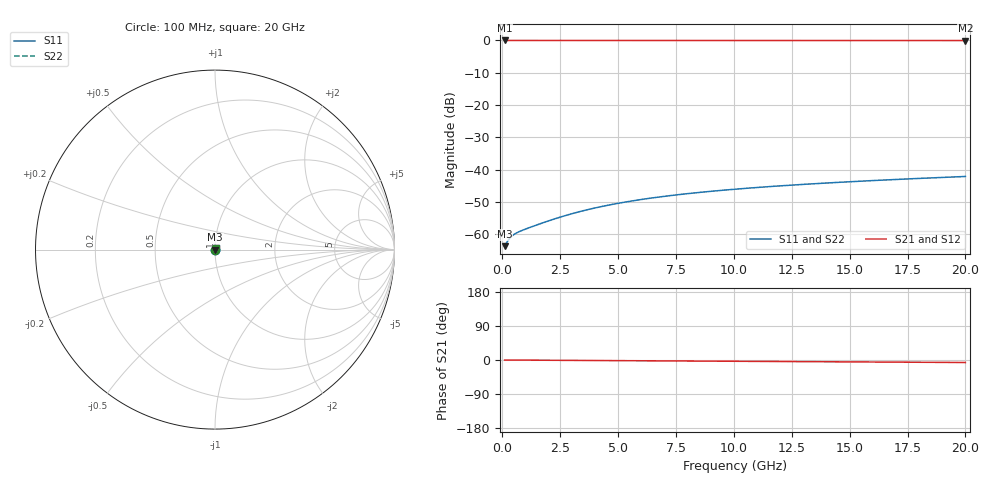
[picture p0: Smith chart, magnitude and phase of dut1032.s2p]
! Touchstone file exported from HFSS 2026.1.0
!  File:  C:/ffzhzh/LocalFiles/Ansys_Project_Files/temp_train_TMRDL_1032_1783160047_22436.aedt
!  Generated:  06:15:17 PM Jul  4, 2026
!  Design:  TMRDL
!  Project:  temp_train_TMRDL_1032_1783160047_22436
! Variables:
!  h_bsmrdl = 2um
!  h_ox = 20um
!  h_rdl = 5um
!  h_sub = 80um
!  h_tmrdl = 3.54um
!  h_tsv = 80um
!  h_via = 3um
!  l_bsmrdl = 300um
!  l_sub = 501.88um
!  l_tmrdl = 101.88um
!  m_sub = 200um
!  pitch = 32.92um
!  r_tsv = 6um
!  s_tmrdl = 10um
!  w_bsmrdl = 18um
!  w_sub = 500um
!  w_tmrdl = 28.07um
!  x_tsv_center1 = 115.915um
!  x_tsv_center2 = 433.915um
!  x_tsv_center3 = 563.865um
!  x_tsv_center4 = 881.865um
!  x_tsv_center5 = 1011.815um
!  x_tsv_center6 = 1329.815um
# GHz S MA R 50.000000
! Terminal data exported
! Port[1] = TM_RDL1_1_T1
! Port[2] = TM_RDL1_1_T2
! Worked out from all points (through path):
!   200 points, 100 MHz to 20 GHz, reference 50 ohm
!   highest |S21| = -0.01 dB at 100 MHz (marker M1); lowest = 0.0 dB at 20 GHz (marker M2)
!   lowest |S11| = -63.7 dB at 100 MHz (marker M3), VSWR 1.00, Z = 50.1 + j0.0156 ohm
!   |S11| at or under -10 dB: start of sweep to end of sweep
!   |S22| runs from -63.7 to -42.1 dB; largest |S21 - S12| = 5.3e-15
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0.1  0.0006515 13.9  0.9994 -0.0  0.9994 -0.0  0.0006515 13.9
! Gamma 0 0 0 0
! Port Impedance 50 0 50 0
0.2  0.0007499 21.7  0.9993 -0.1  0.9993 -0.1  0.0007499 21.7
0.3  0.0008467 25.2  0.9992 -0.1  0.9992 -0.1  0.0008467 25.2
0.4  0.000925 27.0  0.9992 -0.1  0.9992 -0.1  0.000925 27.0
0.5  0.0009868 28.2  0.9991 -0.2  0.9991 -0.2  0.0009868 28.2
0.6  0.001037 29.4  0.9991 -0.2  0.9991 -0.2  0.001037 29.4
0.7  0.001081 30.7  0.9991 -0.2  0.9991 -0.2  0.001081 30.7
0.9  0.00116 33.4  0.999 -0.3  0.999 -0.3  0.00116 33.4
1.2  0.001274 37.5  0.999 -0.4  0.999 -0.4  0.001274 37.5
2.1  0.001651 47.2  0.9989 -0.7  0.9989 -0.7  0.001651 47.2
2.8  0.001976 51.7  0.9988 -1.0  0.9988 -1.0  0.001976 51.7
3.5  0.002308 54.5  0.9987 -1.2  0.9987 -1.2  0.002308 54.5
4.2  0.002638 56.1  0.9986 -1.4  0.9986 -1.4  0.002638 56.1
5  0.003004 57.1  0.9984 -1.7  0.9984 -1.7  0.003004 57.1
5.9  0.003399 57.6  0.9983 -2.0  0.9983 -2.0  0.003399 57.6
6.8  0.003773 57.7  0.9981 -2.3  0.9981 -2.3  0.003773 57.7
8.3  0.004352 57.6  0.9978 -2.8  0.9978 -2.8  0.004352 57.6
10.1  0.004985 57.2  0.9975 -3.4  0.9975 -3.4  0.004986 57.2
11.7  0.005504 56.8  0.9973 -3.9  0.9973 -3.9  0.005504 56.8
13.4  0.006019 56.4  0.9971 -4.5  0.9971 -4.5  0.00602 56.4
16.7  0.00695 55.8  0.9966 -5.5  0.9966 -5.5  0.006951 55.8
20  0.007821 55.2  0.9963 -6.6  0.9963 -6.6  0.007822 55.2
